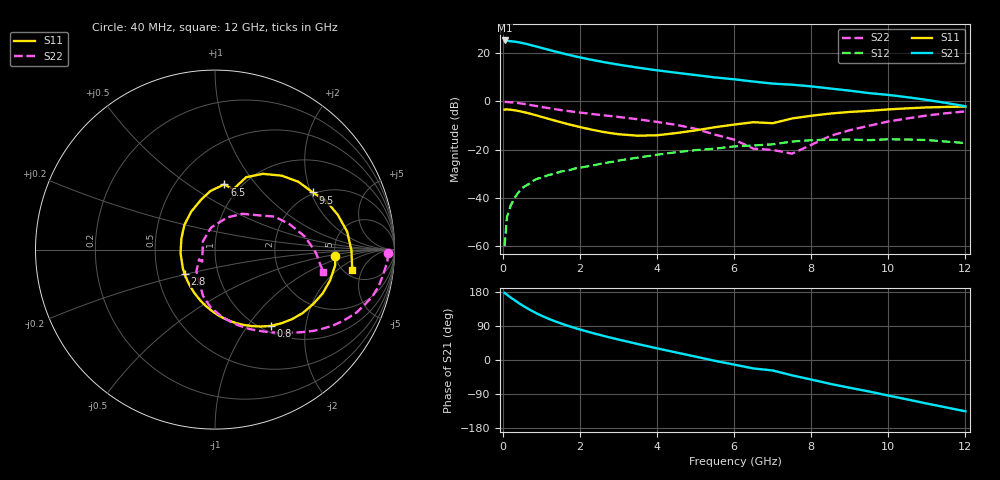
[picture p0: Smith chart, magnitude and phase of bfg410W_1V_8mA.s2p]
! Filename: 18bfg410.001
! BFG410W Field B1
! V1=8.777E-001V,V2=1.000E+000V, I1=1.299E-004A, I2=7.990E-003A
# GHz  S  MA  R 50
!  S11  S21  S12  S22
!Freq(GHz)  Mag  Ang  Mag  Ang  Mag  Ang  Mag  Ang
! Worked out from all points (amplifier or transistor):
!   44 points, 40 MHz to 12 GHz, reference 50 ohm
!   highest |S21| = 25.1 dB at 40 MHz (marker M1)
!   |S21| within 3 dB of that: start of sweep to 980.5 MHz
!   unconditionally stable (mu >= 1): start of sweep to 48.09 MHz; 1.966 GHz to end of sweep
!   at 700 MHz: K = 0.49, MSG = 28.6 dB, |S12| = -34.0 dB
!   at 2.4 GHz: K = 1.12, MAG = 19.5 dB, |S12| = -26.4 dB
!   at 12 GHz: K = 1.54, MAG = 3.3 dB, |S12| = -17.3 dB
!   S11 on the Smith chart (normalised r, x): 40 MHz: 4.98, -0.67; 800 MHz: 1.10, -1.29; 2.8 GHz: 0.69, -0.20; 6.5 GHz: 0.84, +0.71; 9.5 GHz: 1.95, +2.06; 12 GHz: 5.93, -3.31
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0.04  0.671 -3.2  18.04 176.8  0.001 62.4  0.963 -1.1
0.1  0.675 -7.6  17.8 172.6  0.004 86.7  0.963 -3.8
0.2  0.664 -14.9  17.38 164.7  0.007 80.6  0.947 -8.7
0.3  0.648 -22.1  17.04 157.9  0.01 77.7  0.934 -12.8
0.4  0.626 -28.9  16.55 150.7  0.013 74.0  0.913 -16.9
0.6  0.578 -42.2  15.31 138.1  0.018 67.4  0.864 -23.8
0.8  0.526 -54.0  13.94 126.9  0.023 62.3  0.809 -29.8
0.9  0.499 -59.2  13.3 121.7  0.025 60.3  0.784 -32.5
1.1  0.449 -69.2  12.04 112.4  0.028 56.9  0.736 -37.1
1.4  0.386 -82.6  10.43 100.2  0.033 53.2  0.673 -43.0
1.8  0.318 -99.3  8.726 86.5  0.039 49.6  0.608 -49.7
2.2  0.268 -115.3  7.446 74.6  0.045 46.6  0.556 -55.9
2.8  0.218 -140.9  6.053 58.8  0.055 41.8  0.491 -65.1
3.5  0.193 -174.1  4.939 42.1  0.068 35.0  0.422 -76.3
4.5  0.219 141.1  3.874 19.7  0.088 22.8  0.323 -94.3
5.5  0.289 105.5  3.1 -2.2  0.104 7.7  0.203 -115.3
6.5  0.367 81.8  2.545 -22.3  0.121 -6.2  0.104 -148.4
7.5  0.439 66.7  2.191 -40.5  0.146 -17.5  0.082 145.1
8.5  0.555 47.9  1.825 -63.2  0.159 -39.5  0.192 69.1
9.5  0.631 30.3  1.468 -83.2  0.156 -58.3  0.31 38.0
10.5  0.711 15.9  1.205 -104.2  0.161 -78.0  0.44 18.6
12  0.773 -8.4  0.784 -135.4  0.136 -113.5  0.615 -11.7
